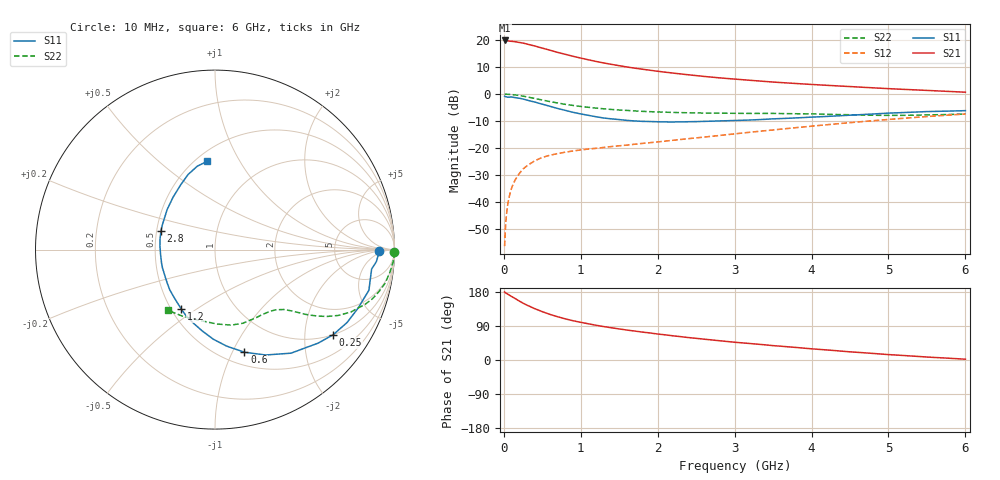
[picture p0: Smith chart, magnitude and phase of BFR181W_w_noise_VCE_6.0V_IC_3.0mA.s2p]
! Infineon Technologies  Discrete & RF Semiconductors
! BFR181W
! VCE =  6.0 V,  IC =  3.0 mA
! Common Emitter S-Parameters:  Jan 2017
# GHz  S  MA  R  50
!  f  S11  S21  S12  S22
! GHz  MAG  ANG  MAG  ANG  MAG  ANG  MAG  ANG
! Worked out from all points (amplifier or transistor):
!   77 points, 10 MHz to 6 GHz, reference 50 ohm
!   highest |S21| = 20.0 dB at 10 MHz (marker M1)
!   |S21| within 3 dB of that: start of sweep to 519.9 MHz
!   unconditionally stable (mu >= 1): 1.636 GHz to 3.718 GHz
!   at 130 MHz: K = 0.11, MSG = 26.2 dB, |S12| = -32.9 dB
!   at 2.2 GHz: K = 1.09, MAG = 10.7 dB, |S12| = -17.1 dB
!   at 6 GHz: K = 0.84, MSG = 4.0 dB, |S12| = -7.4 dB
!   lowest NFmin = 0.87 dB at 450 MHz
!   S11 on the Smith chart (normalised r, x): 10 MHz: 22, -3; 250 MHz: 1.00, -2.77; 600 MHz: 0.63, -1.11; 1.2 GHz: 0.56, -0.43; 2.8 GHz: 0.53, +0.12; 6 GHz: 0.57, +0.74
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0.01  0.9152 -0.6  9.943 179.6  0.0015 91.7  1 -0.8
0.02  0.9019 -4.2  9.888 177.3  0.0031 79.3  1 -1.4
0.03  0.8941 -5.2  9.836 176.2  0.005 83.8  0.9983 -2.2
0.07  0.8804 -10.2  9.668 171.4  0.0124 84.1  0.9895 -5.3
0.15  0.8612 -22.3  9.409 161.8  0.0259 77.8  0.9667 -11.1
0.25  0.8114 -35.8  8.884 150.0  0.0408 70.0  0.9187 -17.4
0.3  0.7757 -42.2  8.531 144.8  0.0465 67.1  0.8895 -20.1
0.4  0.716 -53.7  7.871 135.5  0.0575 62.0  0.8327 -24.7
0.5  0.6512 -64.4  7.167 127.5  0.0668 57.9  0.777 -28.2
0.6  0.5946 -74.0  6.548 120.3  0.0734 54.7  0.7274 -30.8
0.7  0.5418 -83.1  5.968 114.1  0.0788 53.1  0.6842 -32.8
0.8  0.4993 -91.1  5.49 108.5  0.0836 51.6  0.6471 -34.4
0.9  0.4596 -98.7  5.048 103.6  0.0881 50.4  0.6173 -35.7
1.1  0.4041 -113.2  4.344 95.5  0.0956 50.1  0.5696 -37.6
1.2  0.3799 -119.8  4.052 91.6  0.0987 49.7  0.5501 -38.5
1.6  0.3258 -144.5  3.195 79.0  0.1131 51.4  0.4987 -42.1
2.1  0.3047 -170.5  2.559 66.3  0.1343 54.3  0.4624 -48.0
2.8  0.3185 161.0  2.01 50.9  0.1705 57.1  0.4436 -58.4
3.1  0.3272 151.6  1.856 45.2  0.1895 57.3  0.4396 -63.0
4.1  0.3798 126.3  1.487 28.0  0.2621 55.2  0.4262 -79.9
5.1  0.4499 108.1  1.246 13.1  0.3475 48.9  0.4035 -104.2
6  0.4939 95.1  1.088 2.1  0.4282 41.0  0.4286 -128.1
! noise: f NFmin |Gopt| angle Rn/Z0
0.45  0.87  0.47  17  0.27
0.9  0.93  0.42  32  0.26
1.9  1.34  0.24  80  0.21
2.4  1.55  0.21  94  0.23
